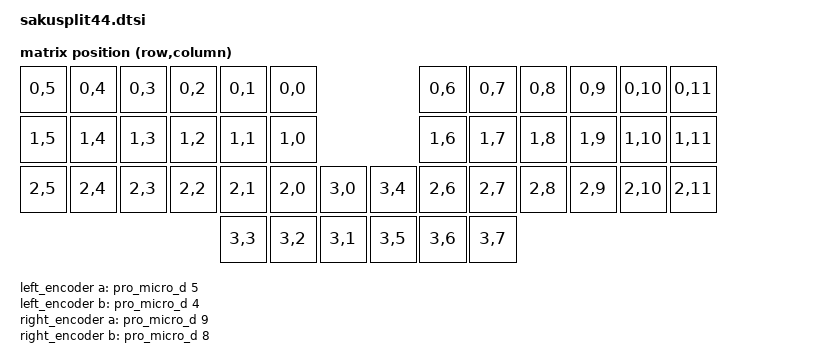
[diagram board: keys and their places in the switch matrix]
#include <dt-bindings/zmk/matrix_transform.h>
#include "sakusplit44_layout.dtsi"

 / {
     chosen {
        zmk,kscan = &kscan0;
        zmk,physical-layout = &physical_layout;
        zmk,battery = &vbatt;
     };

     default_transform: keymap_transform0 {
         compatible = "zmk,matrix-transform";
         rows = <4>;
         columns = <12>;
         map = <
            RC(0,5) RC(0,4) RC(0,3) RC(0,2) RC(0,1) RC(0,0)                     RC(0,6) RC(0,7) RC(0,8) RC(0,9) RC(0,10) RC(0,11)
            RC(1,5) RC(1,4) RC(1,3) RC(1,2) RC(1,1) RC(1,0)                     RC(1,6) RC(1,7) RC(1,8) RC(1,9) RC(1,10) RC(1,11)
            RC(2,5) RC(2,4) RC(2,3) RC(2,2) RC(2,1) RC(2,0) RC(3,0)     RC(3,4) RC(2,6) RC(2,7) RC(2,8) RC(2,9) RC(2,10) RC(2,11)
                                            RC(3,3) RC(3,2) RC(3,1)     RC(3,5) RC(3,6) RC(3,7)
         >;
     };

     kscan0: kscan {
      diode-direction = "col2row";
      wakeup-source;
    };

     vbatt: vbatt {
        status = "okay";
        compatible = "zmk,battery-voltage-divider";
        io-channels = <&adc 7>;
        output-ohms = <1564000>;
        full-ohms = <(806000 + 1564000)>;
    };

     left_encoder: encoder_left {
         compatible = "alps,ec11";
         a-gpios = <&pro_micro_d 5 (GPIO_ACTIVE_HIGH | GPIO_PULL_UP)>;
         b-gpios = <&pro_micro_d 4 (GPIO_ACTIVE_HIGH | GPIO_PULL_UP)>;
         steps = <80>;
         status = "disabled";
     };

     right_encoder: encoder_right {
         compatible = "alps,ec11";
         a-gpios = <&pro_micro_d 9 (GPIO_ACTIVE_HIGH | GPIO_PULL_UP)>;
         b-gpios = <&pro_micro_d 8 (GPIO_ACTIVE_HIGH | GPIO_PULL_UP)>;
         steps = <80>;
         status = "disabled";
     };

     sensors: sensors {
         compatible = "zmk,keymap-sensors";
         sensors = <&left_encoder &right_encoder>;
         triggers-per-rotation = <20>;
     };
 };
